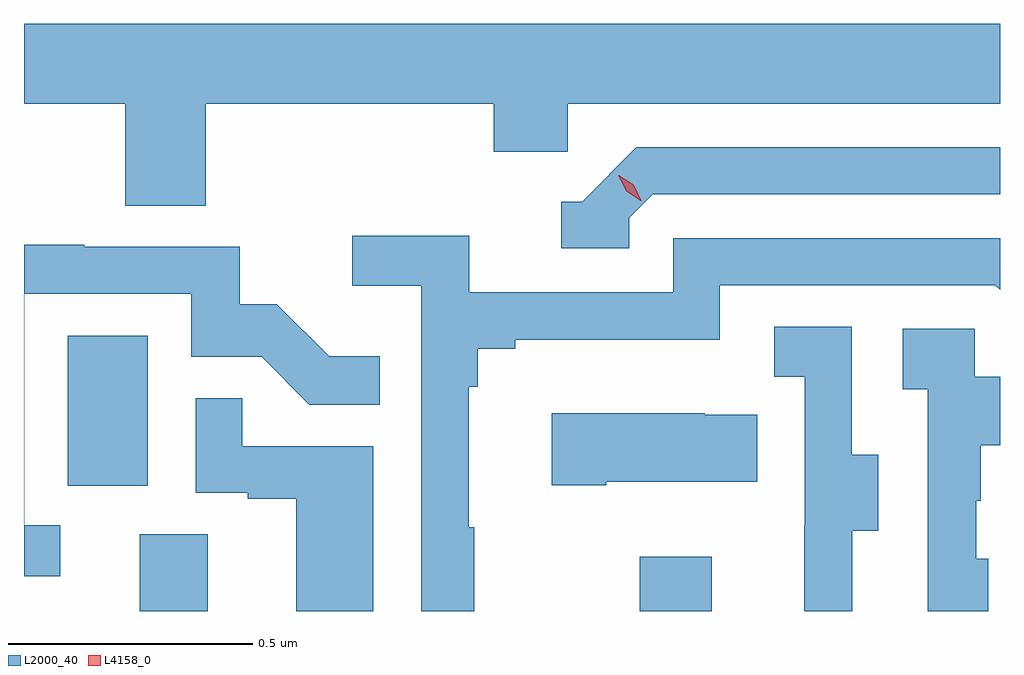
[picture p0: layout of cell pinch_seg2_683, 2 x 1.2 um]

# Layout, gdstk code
import gdstk
lib = gdstk.Library(unit=1e-6, precision=1e-09)
def R(c, l, rs):  # rectangles x0, y0, x1, y1
    for r in rs: c.add(gdstk.rectangle(r[:2], r[2:], *l))
def P(c, l, *ps):  # polygons
    for p in ps: c.add(gdstk.Polygon(p, *l))
L2000_40 = (2000, 40)
L4158_0 = (4158, 0)

pinch_seg2_683 = lib.new_cell('pinch_seg2_683')
R(pinch_seg2_683, L2000_40, [(1021.499,585.325,1021.639,585.482), (1022.524,585.325,1022.671,585.436), (1021.352,585.582,1021.516,585.889)])
P(pinch_seg2_683, L2000_40, [(1021.634,586.364),(1022.225,586.364),(1022.225,586.266),(1022.376,586.266),(1022.376,586.364),(1023.262,586.364),(1023.262,586.528),(1021.262,586.528),(1021.262,586.364),(1021.469,586.364),(1021.469,586.156),(1021.634,586.156)],
  [(1022.502,586.131),(1022.55,586.179),(1023.262,586.179),(1023.262,586.275),(1022.517,586.275),(1022.406,586.164),(1022.363,586.164),(1022.363,586.068),(1022.502,586.068)],
  [(1022.185,585.497),(1022.173,585.497),(1022.173,585.785),(1022.192,585.785),(1022.192,585.862),(1022.269,585.862),(1022.269,585.881),(1022.688,585.881),(1022.688,585.993),(1023.252,585.993),(1023.262,585.983),(1023.262,586.089),(1022.592,586.089),(1022.592,585.978),(1022.174,585.978),(1022.174,586.094),(1021.935,586.094),(1021.935,585.992),(1022.076,585.992),(1022.076,585.325),(1022.185,585.325)],
  [(1021.336,585.501),(1021.263,585.501),(1021.263,585.975),(1021.605,585.975),(1021.605,585.846),(1021.749,585.846),(1021.847,585.748),(1021.991,585.748),(1021.991,585.847),(1021.887,585.847),(1021.78,585.954),(1021.704,585.954),(1021.704,586.071),(1021.385,586.071),(1021.385,586.076),(1021.262,586.076),(1021.262,585.396),(1021.336,585.396)],
  [(1022.959,585.49),(1023.013,585.49),(1023.013,585.645),(1022.958,585.645),(1022.958,585.908),(1022.799,585.908),(1022.799,585.805),(1022.862,585.805),(1022.862,585.501),(1022.861,585.501),(1022.861,585.325),(1022.959,585.325)],
  [(1023.238,585.432),(1023.213,585.432),(1023.213,585.551),(1023.223,585.551),(1023.223,585.665),(1023.262,585.665),(1023.262,585.805),(1023.21,585.805),(1023.21,585.903),(1023.063,585.903),(1023.063,585.779),(1023.114,585.779),(1023.114,585.325),(1023.238,585.325)],
  [(1021.978,585.663),(1021.709,585.663),(1021.709,585.761),(1021.614,585.761),(1021.614,585.567),(1021.721,585.567),(1021.721,585.555),(1021.82,585.555),(1021.82,585.325),(1021.978,585.325)],
  [(1022.455,585.59),(1022.765,585.59),(1022.765,585.727),(1022.657,585.727),(1022.657,585.73),(1022.343,585.73),(1022.343,585.583),(1022.455,585.583)])
P(pinch_seg2_683, L4158_0, [(1022.526,586.166),(1022.496,586.185),(1022.48,586.218),(1022.48,586.218),(1022.481,586.218),(1022.511,586.199),(1022.527,586.166),(1022.527,586.166)])

lib.write_gds('pinch_seg2_683.gds')
